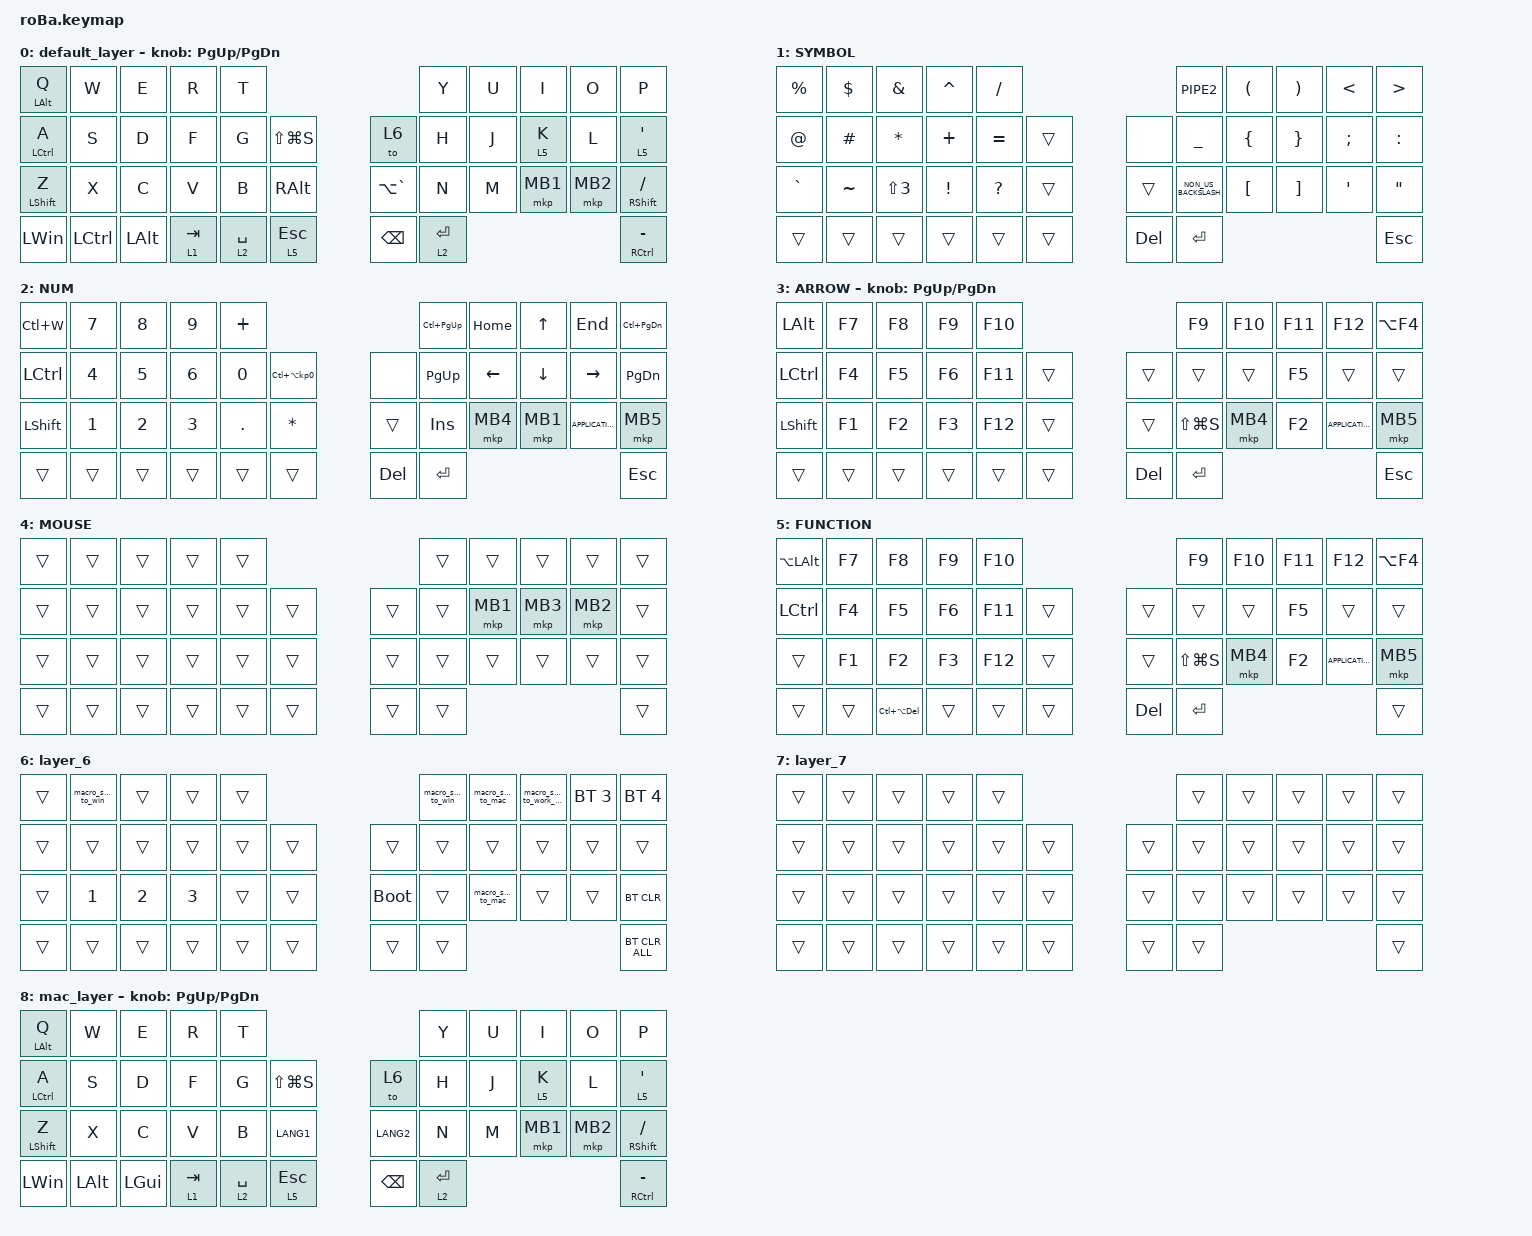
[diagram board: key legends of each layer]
#include <behaviors.dtsi>
#include <dt-bindings/zmk/bt.h>
#include <dt-bindings/zmk/keys.h>
#include <dt-bindings/zmk/pointing.h>

#define ZMK_MOUSE_POINTING_SCRL_VAL 100

&mt {
    flavor = "balanced";
    quick-tap-ms = <0>;
};

&trackball {
    scroll-layers = <5>;

    arrows {
        layers = <2>;
        bindings =
            <&kp RIGHT_ARROW>,
            <&kp LEFT_ARROW>,
            <&kp UP_ARROW>,
            <&kp DOWN_ARROW>;
        tick = <10>;
        wait-ms = <5>;
        tap-ms = <5>;
    };
};

/ {
    combos {
        compatible = "zmk,combos";

        unsco {
            bindings = <&kp UNDERSCORE>;
            key-positions = <8 9>;
        };

        dash {
            bindings = <&kp MINUS>;
            key-positions = <9 10>;
        };

        tab {
            bindings = <&kp TAB>;
            key-positions = <11 12>;
        };

        shift_tab {
            bindings = <&kp LS(TAB)>;
            key-positions = <12 13>;
        };

        comma {
            bindings = <&kp COMMA>;
            key-positions = <30 31>;
        };

        period {
            bindings = <&kp PERIOD>;
            key-positions = <31 32>;
        };

        backslash {
            bindings = <&kp BACKSLASH>;
            key-positions = <32 33>;
        };

        comma2 {
            bindings = <&kp COMMA>;
            key-positions = <13 31>;
        };

        period2 {
            bindings = <&kp PERIOD>;
            key-positions = <13 32>;
        };

        backslash2 {
            bindings = <&kp NON_US_BACKSLASH>;
            key-positions = <13 33>;
        };
    };

    macros {
        to_layer_0: to_layer_0 {
            compatible = "zmk,behavior-macro-one-param";
            #binding-cells = <1>;
            bindings = <&to 0 &macro_param_1to1 &kp MACRO_PLACEHOLDER>;
            label = "TO_LAYER_0";
        };

        macro_switch_to_win: macro_switch_to_win {
            compatible = "zmk,behavior-macro";
            #binding-cells = <0>;
            label = "WIN_CONNECT";
            bindings = <&bt BT_SEL 0 &to 0>; // BLE Profile 0 + Layer 0
        };

        macro_switch_to_mac: macro_switch_to_mac {
            compatible = "zmk,behavior-macro";
            #binding-cells = <0>;
            label = "MAC_CONNECT";
            bindings = <&bt BT_SEL 1 &to 8>; // BLE Profile 1 + mac_layer (8)
        };

        macro_switch_to_work_win: macro_switch_to_work_win {
            compatible = "zmk,behavior-macro";
            #binding-cells = <0>;
            label = "WIN_WORK";
            bindings = <&bt BT_SEL 2 &to 0>; // Work Windows
        };
    };

    behaviors {
        lt_to_layer_0: lt_to_layer_0 {
            compatible = "zmk,behavior-hold-tap";
            label = "LAYER_TAP_TO_0";
            bindings = <&mo>, <&to_layer_0>;

            #binding-cells = <2>;
            tapping-term-ms = <200>;
        };
    };

    keymap {
        compatible = "zmk,keymap";

        default_layer {
            bindings = <
&mt LEFT_ALT Q      &kp W             &kp E         &kp R                 &kp T                                                    &kp Y        &kp U  &kp I     &kp O     &kp P
&mt LEFT_CONTROL A  &kp S             &kp D         &kp F                 &kp G        &kp LS(LG(S))                &to 6          &kp H        &kp J  &lt 5 K   &kp L     &lt_to_layer_0 5 APOSTROPHE
&mt LEFT_SHIFT Z    &kp X             &kp C         &kp V                 &kp B        &kp RALT                        &kp LA(GRAVE)          &kp N        &kp M  &mkp MB1  &mkp MB2  &mt RIGHT_SHIFT SLASH
&kp LEFT_WIN        &kp LEFT_CONTROL  &kp LEFT_ALT  &lt_to_layer_0 1 TAB  &lt 2 SPACE  &lt_to_layer_0 5 ESCAPE      &kp BACKSPACE  &lt 2 ENTER                             &mt RIGHT_CONTROL MINUS
            >;

            sensor-bindings = <&inc_dec_kp PAGE_UP PAGE_DOWN>;
        };

        SYMBOL {
            bindings = <
&kp PERCENT  &kp DOLLAR  &kp AMPERSAND     &kp CARET        &kp SLASH                             &kp PIPE2             &kp LEFT_PARENTHESIS  &kp RIGHT_PARENTHESIS  &kp LESS_THAN     &kp GREATER_THAN
&kp AT       &kp HASH    &kp ASTERISK      &kp PLUS         &kp EQUAL     &trans      &none       &kp UNDERSCORE        &kp LEFT_BRACE        &kp RIGHT_BRACE        &kp SEMICOLON     &kp COLON
&kp GRAVE    &kp TILDE   &kp LS(NUMBER_3)  &kp EXCLAMATION  &kp QUESTION  &trans      &trans      &kp NON_US_BACKSLASH  &kp LEFT_BRACKET      &kp RIGHT_BRACKET      &kp SINGLE_QUOTE  &kp DOUBLE_QUOTES
&trans       &trans      &trans            &trans           &trans        &trans      &kp DELETE  &kp ENTER                                                                            &kp ESCAPE
            >;
        };

        NUM {
            bindings = <
&kp LC(W)       &kp NUMBER_7  &kp NUMBER_8  &kp NUMBER_9  &kp PLUS                                               &kp LC(PAGE_UP)  &kp HOME        &kp UP_ARROW    &kp END            &kp LC(PAGE_DOWN)
&kp LCTRL       &kp NUMBER_4  &kp N5        &kp NUMBER_6  &kp NUMBER_0  &kp LC(LA(KP_NUMBER_0))      &none       &kp PAGE_UP      &kp LEFT_ARROW  &kp DOWN_ARROW  &kp RIGHT_ARROW    &kp PAGE_DOWN
&kp LEFT_SHIFT  &kp NUMBER_1  &kp NUMBER_2  &kp NUMBER_3  &kp PERIOD    &kp ASTERISK                 &trans      &kp INSERT       &mkp MB4        &mkp MB1        &kp K_APPLICATION  &mkp MB5
&trans          &trans        &trans        &trans        &trans        &trans                       &kp DELETE  &kp ENTER                                                           &kp ESCAPE
            >;
        };

        ARROW {
            bindings = <
&kp LEFT_ALT      &kp F7  &kp F8  &kp F9  &kp F10                          &kp F9         &kp F10   &kp F11  &kp F12            &kp LA(F4)
&kp LEFT_CONTROL  &kp F4  &kp F5  &kp F6  &kp F11  &trans      &trans      &trans         &trans    &kp F5   &trans             &trans
&kp LEFT_SHIFT    &kp F1  &kp F2  &kp F3  &kp F12  &trans      &trans      &kp LS(LG(S))  &mkp MB4  &kp F2   &kp K_APPLICATION  &mkp MB5
&trans            &trans  &trans  &trans  &trans   &trans      &kp DELETE  &kp ENTER                                            &kp ESCAPE
            >;

            sensor-bindings = <&inc_dec_kp PAGE_UP PAGE_DOWN>;
        };

        MOUSE {
            bindings = <
&trans  &trans  &trans  &trans  &trans                      &trans  &trans    &trans    &trans    &trans
&trans  &trans  &trans  &trans  &trans  &trans      &trans  &trans  &mkp MB1  &mkp MB3  &mkp MB2  &trans
&trans  &trans  &trans  &trans  &trans  &trans      &trans  &trans  &trans    &trans    &trans    &trans
&trans  &trans  &trans  &trans  &trans  &trans      &trans  &trans                                &trans
            >;
        };

        FUNCTION {
            bindings = <
&kp LA(LEFT_ALT)  &kp F7  &kp F8              &kp F9  &kp F10                          &kp F9         &kp F10   &kp F11  &kp F12            &kp LA(F4)
&kp LEFT_CONTROL  &kp F4  &kp F5              &kp F6  &kp F11  &trans      &trans      &trans         &trans    &kp F5   &trans             &trans
&trans            &kp F1  &kp F2              &kp F3  &kp F12  &trans      &trans      &kp LS(LG(S))  &mkp MB4  &kp F2   &kp K_APPLICATION  &mkp MB5
&trans            &trans  &kp LC(LA(DELETE))  &trans  &trans   &trans      &kp DELETE  &kp ENTER                                            &trans
            >;
        };

        layer_6 {
            bindings = <    
&trans  &macro_switch_to_win        &trans        &trans        &trans                           &macro_switch_to_win  &macro_switch_to_mac  &macro_switch_to_work_win  &bt BT_SEL 3  &bt BT_SEL 4
&trans  &trans        &trans        &trans        &trans  &trans      &trans       &trans        &trans        &trans        &trans        &trans
&trans  &kp NUMBER_1  &kp NUMBER_2  &kp NUMBER_3  &trans  &trans      &bootloader  &trans        &macro_switch_to_mac        &trans        &trans        &bt BT_CLR
&trans  &trans        &trans        &trans        &trans  &trans      &trans       &trans                                                  &bt BT_CLR_ALL
            >;
        };

        layer_7 {
            bindings = <
&trans  &trans  &trans  &trans  &trans                      &trans  &trans  &trans  &trans  &trans
&trans  &trans  &trans  &trans  &trans  &trans      &trans  &trans  &trans  &trans  &trans  &trans
&trans  &trans  &trans  &trans  &trans  &trans      &trans  &trans  &trans  &trans  &trans  &trans
&trans  &trans  &trans  &trans  &trans  &trans      &trans  &trans                          &trans
            >;
        };

        mac_layer {
            bindings = <
&mt LEFT_ALT Q      &kp W             &kp E         &kp R                 &kp T                                                    &kp Y        &kp U  &kp I     &kp O     &kp P
&mt LEFT_CONTROL A  &kp S             &kp D         &kp F                 &kp G        &kp LS(LG(S))                &to 6          &kp H        &kp J  &lt 5 K   &kp L     &lt_to_layer_0 5 APOSTROPHE
&mt LEFT_SHIFT Z    &kp X             &kp C         &kp V                 &kp B        &kp LANG1                        &kp LANG2          &kp N        &kp M  &mkp MB1  &mkp MB2  &mt RIGHT_SHIFT SLASH
&kp LEFT_WIN        &kp LEFT_ALT  &kp LEFT_GUI  &lt_to_layer_0 1 TAB  &lt 2 SPACE  &lt_to_layer_0 5 ESCAPE      &kp BACKSPACE  &lt 2 ENTER                             &mt RIGHT_CONTROL MINUS
            >;

            // Trackball scroll mode enabled while this layer is active
    sensor-bindings = <&inc_dec_kp PAGE_UP PAGE_DOWN>;
        };
    };
};
